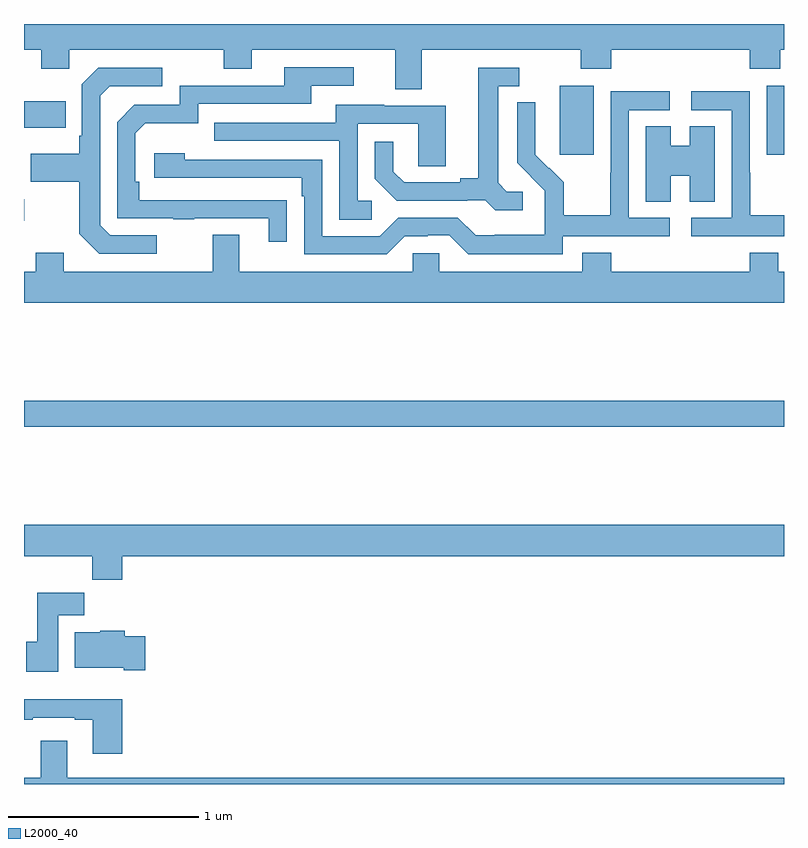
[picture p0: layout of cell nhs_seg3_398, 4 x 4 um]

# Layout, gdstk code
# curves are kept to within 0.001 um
import gdstk
lib = gdstk.Library(unit=1e-6, precision=1e-09)
def R(c, l, rs):  # rectangles x0, y0, x1, y1
    for r in rs: c.add(gdstk.rectangle(r[:2], r[2:], *l))
def P(c, l, *ps):  # polygons
    for p in ps: c.add(gdstk.Polygon(p, *l))
L2000_40 = (2000, 40)

nhs_seg3_398 = lib.new_cell('nhs_seg3_398')
R(nhs_seg3_398, L2000_40, [(131,684.28,135,684.416), (131,685.365,131.002,685.478), (133.82,685.713,133.999,686.074), (134.909,685.713,135,686.074), (131,685.853,131.219,685.993)])
P(nhs_seg3_398, L2000_40, [(133.093,686.264),(133.93,686.264),(133.93,686.165),(134.09,686.165),(134.09,686.264),(134.819,686.264),(134.819,686.165),(134.979,686.165),(134.979,686.264),(135,686.264),(135,686.4),(131,686.4),(131,686.264),(131.092,686.264),(131.092,686.165),(131.238,686.165),(131.238,686.264),(132.052,686.264),(132.052,686.165),(132.199,686.165),(132.199,686.264),(132.953,686.264),(132.953,686.056),(133.093,686.056)],
  [(132.383,685.472),(131.606,685.473),(131.606,685.57),(131.586,685.57),(131.586,685.824),(131.639,685.877),(131.916,685.877),(131.916,685.98),(132.511,685.98),(132.511,686.076),(132.736,686.076),(132.736,686.172),(132.371,686.172),(132.371,686.076),(131.82,686.076),(131.82,685.974),(131.58,685.974),(131.49,685.884),(131.49,685.377),(131.785,685.377),(131.785,685.372),(131.897,685.372),(131.897,685.377),(132.287,685.377),(132.287,685.254),(132.383,685.254)],
  [(131.698,685.287),(131.454,685.287),(131.4,685.341),(131.4,686.022),(131.451,686.073),(131.728,686.073),(131.728,686.169),(131.391,686.169),(131.304,686.082),(131.304,685.813),(131.292,685.813),(131.292,685.717),(131.035,685.717),(131.035,685.57),(131.292,685.57),(131.292,685.297),(131.397,685.191),(131.698,685.191)],
  [(133.624,685.518),(133.542,685.518),(133.495,685.565),(133.495,686.073),(133.606,686.073),(133.606,686.169),(133.391,686.169),(133.391,685.589),(133.295,685.589),(133.295,685.566),(133,685.566),(132.943,685.623),(132.943,685.78),(132.846,685.78),(132.846,685.586),(132.962,685.47),(133.334,685.47),(133.334,685.473),(133.428,685.473),(133.48,685.421),(133.624,685.421)],
  [(135,685.393),(134.823,685.393),(134.823,685.616),(134.82,685.616),(134.82,686.046),(134.511,686.046),(134.511,685.947),(134.724,685.947),(134.724,685.38),(134.511,685.38),(134.511,685.284),(135,685.284)],
  [(133.836,685.284),(134.398,685.284),(134.398,685.38),(134.184,685.38),(134.184,685.947),(134.398,685.947),(134.398,686.046),(134.088,686.046),(134.088,685.616),(134.086,685.616),(134.086,685.393),(133.841,685.393),(133.841,685.567),(133.764,685.644),(133.761,685.641),(133.691,685.712),(133.692,685.988),(133.596,685.988),(133.596,685.67),(133.742,685.522),(133.742,685.425),(133.74,685.425),(133.74,685.291),(133.477,685.291),(133.477,685.287),(133.377,685.287),(133.284,685.38),(132.969,685.38),(132.873,685.284),(132.57,685.284),(132.57,685.686),(131.846,685.686),(131.846,685.72),(131.685,685.72),(131.685,685.59),(132.461,685.59),(132.461,685.493),(132.474,685.493),(132.474,685.188),(132.909,685.188),(133.005,685.284),(133.124,685.284),(133.124,685.287),(133.239,685.287),(133.339,685.187),(133.836,685.187)],
  [(132.829,685.47),(132.756,685.47),(132.756,685.875),(133.074,685.875),(133.074,685.651),(133.219,685.651),(133.219,685.971),(132.895,685.971),(132.895,685.975),(132.641,685.975),(132.641,685.881),(132.001,685.881),(132.001,685.785),(132.66,685.785),(132.66,685.369),(132.829,685.369)],
  [(134.404,685.601),(134.504,685.601),(134.504,685.465),(134.635,685.465),(134.635,685.862),(134.504,685.862),(134.504,685.759),(134.404,685.759),(134.404,685.862),(134.273,685.862),(134.273,685.465),(134.404,685.465)],
  [(135,685.096),(134.971,685.096),(134.971,685.195),(134.819,685.195),(134.819,685.096),(134.09,685.096),(134.09,685.195),(133.937,685.195),(133.937,685.096),(133.185,685.096),(133.185,685.194),(133.047,685.194),(133.047,685.096),(132.133,685.096),(132.133,685.291),(131.993,685.291),(131.993,685.096),(131.209,685.096),(131.209,685.195),(131.062,685.195),(131.062,685.096),(131,685.096),(131,684.932),(135,684.932)],
  [(131.516,683.6),(135,683.6),(135,683.764),(131,683.764),(131,683.6),(131.359,683.6),(131.359,683.476),(131.516,683.476)],
  [(131.179,683.288),(131.318,683.288),(131.318,683.407),(131.069,683.407),(131.069,683.148),(131.012,683.148),(131.012,682.992),(131.179,682.992)],
  [(131.638,683.178),(131.531,683.178),(131.531,683.206),(131.4,683.206),(131.4,683.2),(131.267,683.2),(131.267,683.012),(131.525,683.012),(131.525,683),(131.638,683)],
  [(131.516,682.846),(131,682.846),(131,682.737),(131.047,682.737),(131.047,682.749),(131.267,682.749),(131.267,682.737),(131.363,682.737),(131.363,682.56),(131.516,682.56)],
  [(135,682.432),(131.227,682.432),(131.227,682.627),(131.087,682.627),(131.087,682.432),(131,682.432),(131,682.4),(135,682.4)])

lib.write_gds('nhs_seg3_398.gds')
